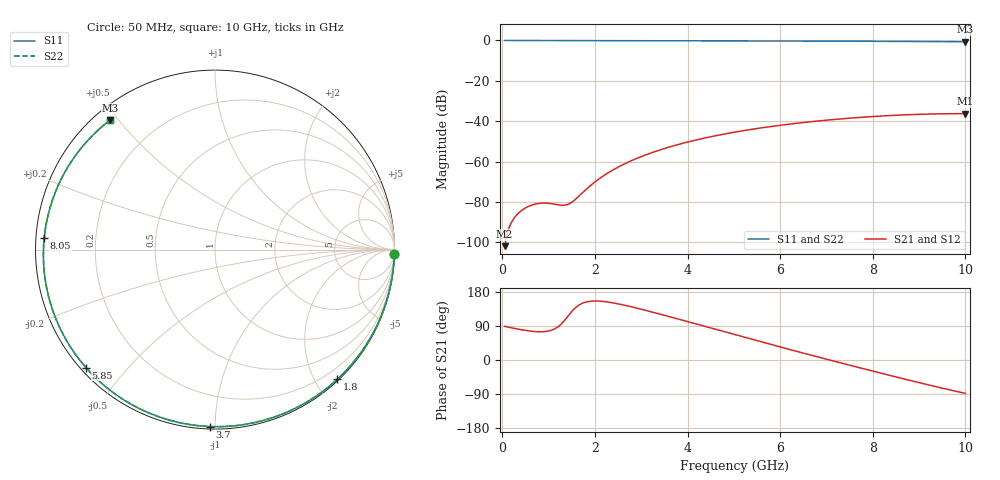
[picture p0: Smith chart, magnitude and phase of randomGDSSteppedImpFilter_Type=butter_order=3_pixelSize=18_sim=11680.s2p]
! freq	dB(S11)	phase(S11)	dB(S12)	phase(S12)
!  dB(S21)	phase(S21)	dB(S22)	phase(S22)
!S-par simulation data
#  GHz  S  DB  R 50
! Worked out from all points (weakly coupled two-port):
!   200 points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, 50 MHz to 10 GHz, reference 50 ohm
!   highest |S21| = -36.26 dB at 10 GHz (marker M1); lowest = -102.0 dB at 50 MHz (marker M2)
!   lowest |S11| = -0.6 dB at 10 GHz (marker M3), VSWR 26.92, Z = 2.28 + j23.8 ohm
!   |S11| at or under -10 dB: nowhere
!   |S22| runs from -0.6 to 0.0 dB; largest |S21 - S12| = 0
!   S11 on the Smith chart (normalised r, x): 50 MHz: 0, -86; 1.8 GHz: 0.02, -2.32; 3.7 GHz: 0.01, -0.97; 5.85 GHz: 0.02, -0.39; 8.05 GHz: 0.02, +0.03; 10 GHz: 0.05, +0.48
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0.05  -0.00 -1.3  -101.95 88.8  -101.95 88.8  -0.00 -1.3
0.75  -0.03 -19.7  -80.93 74.7  -80.93 74.7  -0.03 -19.8
1.5  -0.05 -39.1  -80.20 127.9  -80.20 127.9  -0.05 -39.1
1.55  -0.05 -40.3  -79.31 134.5  -79.31 134.5  -0.05 -40.4
1.75  -0.06 -45.4  -75.07 150.7  -75.07 150.7  -0.06 -45.4
1.8  -0.06 -46.6  -74.01 152.7  -74.01 152.7  -0.06 -46.6
2.15  -0.07 -55.3  -67.62 154.8  -67.62 154.8  -0.07 -55.3
2.5  -0.08 -63.8  -62.79 148.2  -62.79 148.2  -0.08 -63.8
2.9  -0.09 -73.3  -58.49 137.1  -58.49 137.1  -0.09 -73.3
3.4  -0.11 -84.8  -54.29 121.3  -54.29 121.3  -0.11 -84.9
3.7  -0.12 -91.6  -52.20 111.4  -52.20 111.4  -0.12 -91.7
4.35  -0.15 -105.9  -48.46 89.5  -48.46 89.5  -0.15 -106.0
5.05  -0.18 -120.9  -45.31 65.9  -45.31 65.9  -0.18 -120.9
5.85  -0.23 -137.5  -42.50 39.3  -42.50 39.3  -0.23 -137.6
6.7  -0.29 -155.1  -40.18 11.7  -40.18 11.7  -0.29 -155.2
7.4  -0.35 -169.8  -38.70 -10.6  -38.70 -10.6  -0.35 -169.8
8.05  -0.41 176.2  -37.63 -30.9  -37.63 -30.9  -0.41 176.2
8.35  -0.44 169.5  -37.23 -40.1  -37.23 -40.1  -0.44 169.5
8.8  -0.49 159.1  -36.76 -53.8  -36.76 -53.8  -0.49 159.1
9.2  -0.54 149.5  -36.48 -65.6  -36.48 -65.6  -0.54 149.6
9.6  -0.59 139.5  -36.31 -77.1  -36.31 -77.1  -0.59 139.6
10  -0.65 129.0  -36.26 -88.1  -36.26 -88.1  -0.64 129.1
